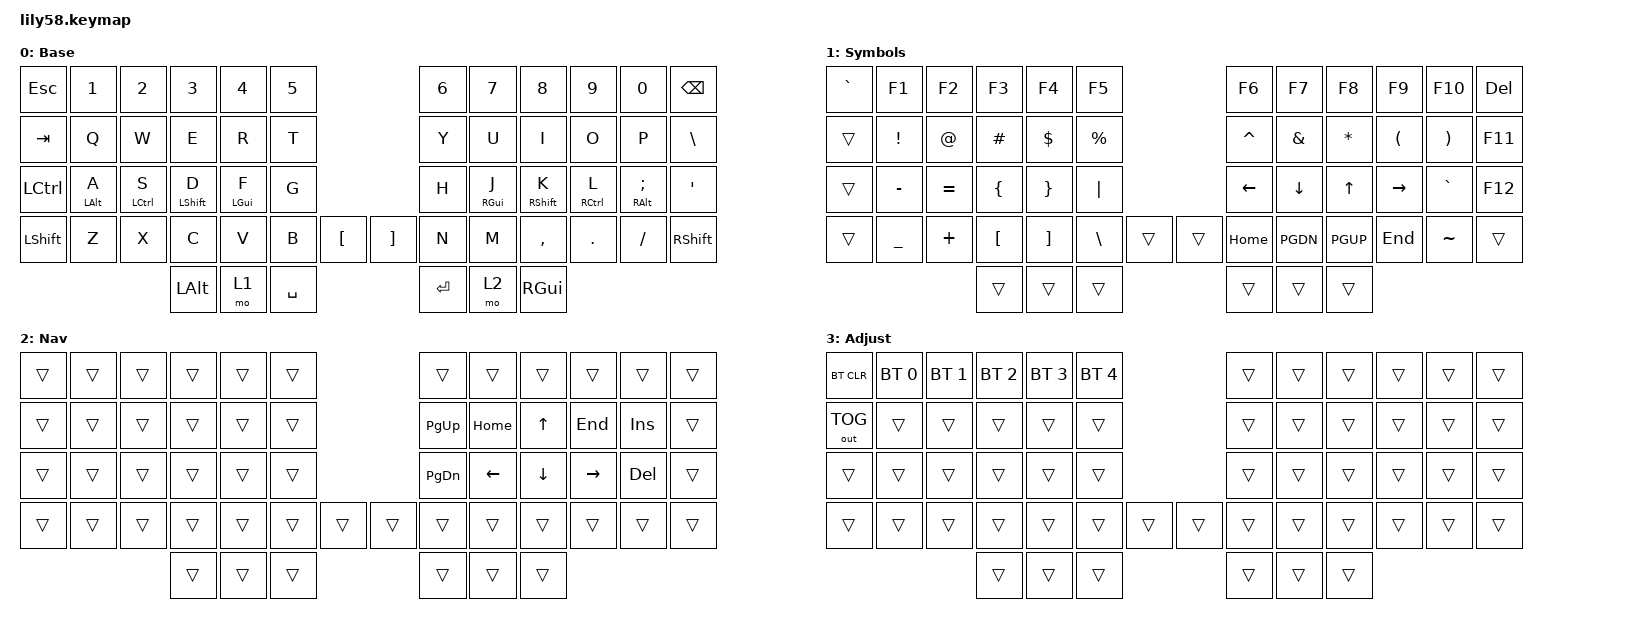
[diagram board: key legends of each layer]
#include <behaviors.dtsi>
#include <dt-bindings/zmk/keys.h>
#include <dt-bindings/zmk/bt.h>
#include <dt-bindings/zmk/outputs.h>
&mt {
    tapping-term-ms = <200>;
    flavor = "tap-preferred";
};

&sk {
    release-after-ms = <2000>;
    quick-release;
};

/ { 
    behaviors {
        hm: homerow_mods {
            compatible = "zmk,behavior-hold-tap";
            #binding-cells = <2>;
            tapping-term-ms = <200>;
            quick-tap-ms = <0>;
            flavor = "tap-preferred";
            bindings = <&kp>, <&kp>;
        };
    };
    combos {
        compatible = "zmk,combos";
        combo_esc {
            timeout-ms = <50>;
            key-positions = <31 32>; // Позиции клавиш J и K
            bindings = <&kp ESC>;
        };
        combo_tab {
            timeout-ms = <50>;
            key-positions = <27 28>; // Позиции клавиш D и F
            bindings = <&kp TAB>;
        };
    };

    /* Дальше идет твой блок keymap { ... }; */

    keymap {
        compatible = "zmk,keymap";

        default_layer {
            display-name = "Base";
            bindings = <
&kp ESC    &kp N1       &kp N2       &kp N3       &kp N4       &kp N5                          &kp N6       &kp N7       &kp N8       &kp N9       &kp N0          &kp BSPC
&kp TAB    &kp Q        &kp W        &kp E        &kp R        &kp T                           &kp Y        &kp U        &kp I        &kp O        &kp P           &kp BSLH
&kp LCTRL  &hm LALT A   &hm LCTRL S  &hm LSHIFT D &hm LGUI F   &kp G                           &kp H        &hm RGUI J   &hm RSHIFT K &hm RCTRL L  &hm RALT SEMI   &kp SQT
&kp LSHFT  &kp Z        &kp X        &kp C        &kp V        &kp B   &kp LBKT      &kp RBKT  &kp N        &kp M        &kp COMMA    &kp DOT      &kp FSLH        &kp RSHFT
                                     &kp LALT     &mo 1        &kp SPACE                       &kp RET      &mo 2        &kp RGUI
            >;
        };

        lower_layer {
            display-name = "Symbols";
            bindings = <
&kp GRAVE &kp F1    &kp F2    &kp F3    &kp F4    &kp F5                     &kp F6    &kp F7    &kp F8    &kp F9    &kp F10   &kp DEL
&trans    &kp EXCL  &kp AT    &kp HASH  &kp DLLR  &kp PRCNT                  &kp CARET &kp AMPS  &kp STAR  &kp LPAR  &kp RPAR  &kp F11
&trans    &kp MINUS &kp EQUAL &kp LBRC  &kp RBRC  &kp PIPE                   &kp LEFT  &kp DOWN  &kp UP    &kp RIGHT &kp GRAVE &kp F12
&trans    &kp UNDER &kp PLUS  &kp LBKT  &kp RBKT  &kp BSLH  &trans   &trans  &kp HOME  &kp PGDN  &kp PGUP  &kp END   &kp TILDE &trans
                              &trans    &trans    &trans                     &trans    &trans    &trans
            >;
        };

        raise_layer {
            display-name = "Nav";
            bindings = <
&trans     &trans       &trans       &trans       &trans       &trans                          &trans       &trans       &trans       &trans       &trans       &trans
&trans     &trans       &trans       &trans       &trans       &trans                          &kp PG_UP    &kp HOME     &kp UP       &kp END      &kp INS      &trans
&trans     &trans       &trans       &trans       &trans       &trans                          &kp PG_DN    &kp LEFT     &kp DOWN     &kp RIGHT    &kp DEL      &trans
&trans     &trans       &trans       &trans       &trans       &trans       &trans    &trans   &trans       &trans       &trans       &trans       &trans       &trans
                                     &trans       &trans       &trans                          &trans       &trans       &trans
            >;
        };

        adjust_layer {
            display-name = "Adjust";
            bindings = <
&bt BT_CLR &bt BT_SEL 0 &bt BT_SEL 1 &bt BT_SEL 2 &bt BT_SEL 3 &bt BT_SEL 4             &trans &trans &trans &trans &trans &trans
&out OUT_TOG &trans     &trans       &trans       &trans       &trans                   &trans &trans &trans &trans &trans &trans
&trans       &trans     &trans       &trans       &trans       &trans                   &trans &trans &trans &trans &trans &trans
&trans       &trans     &trans       &trans       &trans       &trans &trans    &trans  &trans &trans &trans &trans &trans &trans
                                     &trans       &trans       &trans                   &trans &trans &trans
            >;
        };
    };

    conditional_layers {
        compatible = "zmk,conditional-layers";
        tri_layer {
            if-layers = <1 2>;
            then-layer = <3>;
        };
    };
};
